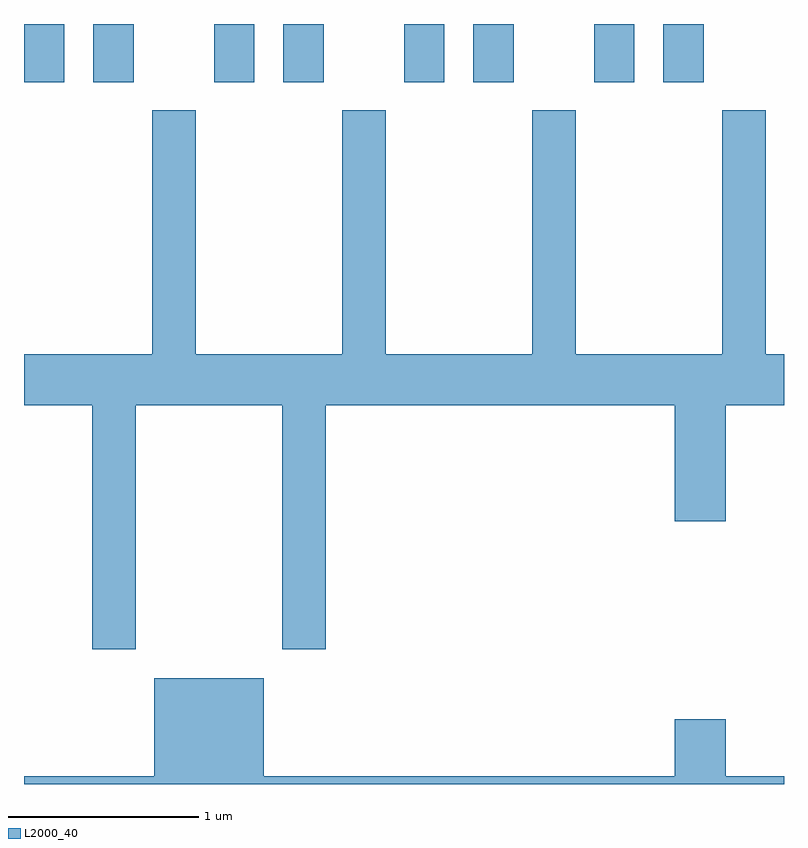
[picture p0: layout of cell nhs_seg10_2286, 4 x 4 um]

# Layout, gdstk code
import gdstk
lib = gdstk.Library(unit=1e-6, precision=1e-09)
def R(c, l, rs):  # rectangles x0, y0, x1, y1
    for r in rs: c.add(gdstk.rectangle(r[:2], r[2:], *l))
def P(c, l, *ps):  # polygons
    for p in ps: c.add(gdstk.Polygon(p, *l))
L2000_40 = (2000, 40)

nhs_seg10_2286 = lib.new_cell('nhs_seg10_2286')
R(nhs_seg10_2286, L2000_40, [(251.611,2182.216,251.824,2182.522), (251.976,2182.216,252.189,2182.522), (252.611,2182.216,252.824,2182.522), (252.976,2182.216,253.189,2182.522), (253.611,2182.216,253.824,2182.522), (253.976,2182.216,254.189,2182.522), (254.611,2182.216,254.824,2182.522), (254.976,2182.216,255.189,2182.522)])
P(nhs_seg10_2286, L2000_40, [(252.199,2180.516),(252.971,2180.516),(252.971,2179.231),(253.199,2179.231),(253.199,2180.516),(255.036,2180.516),(255.036,2179.906),(255.304,2179.906),(255.304,2180.516),(255.611,2180.516),(255.611,2180.784),(255.514,2180.784),(255.514,2182.069),(255.286,2182.069),(255.286,2180.784),(254.514,2180.784),(254.514,2182.069),(254.286,2182.069),(254.286,2180.784),(253.514,2180.784),(253.514,2182.069),(253.286,2182.069),(253.286,2180.784),(252.514,2180.784),(252.514,2182.069),(252.286,2182.069),(252.286,2180.784),(251.611,2180.784),(251.611,2180.516),(251.971,2180.516),(251.971,2179.231),(252.199,2179.231)],
  [(255.611,2178.564),(255.304,2178.564),(255.304,2178.864),(255.036,2178.864),(255.036,2178.564),(252.874,2178.564),(252.874,2179.079),(252.296,2179.079),(252.296,2178.564),(251.611,2178.564),(251.611,2178.522),(255.611,2178.522)])

lib.write_gds('nhs_seg10_2286.gds')
